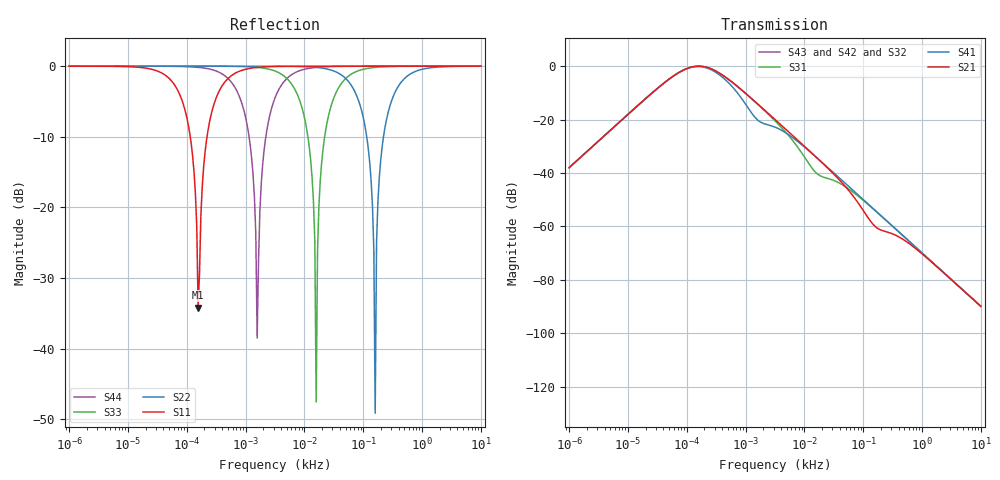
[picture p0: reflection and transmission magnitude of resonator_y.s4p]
# Hz Y RI R 1
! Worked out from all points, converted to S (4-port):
!   301 points, 1 mHz to 10 kHz, reference 1 ohm
!   strongest paths, dB at 1 mHz, 56.23 mHz, 3.162 Hz, 177.8 Hz, 10 kHz:
!     S21: -38.0, -4.0, -20.0, -60.8, -89.9
!     S41: -38.0, -4.1, -22.8, -54.9, -89.9
!     S31: -38.0, -4.0, -20.5, -55.0, -89.9
!     S43: -, -, -, -, -
!     S42: -, -, -, -, -
!     S32: -, -, -, -, -
!   lowest |S11| = -34.2 dB at 156.1 mHz (marker M1), VSWR 1.04, Z = 1 - j0.0391 ohm
!   |S11| at or under -10 dB: 114.6 mHz to 221.2 mHz (106.5 mHz wide, 63.5 % of centre)
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0.001  3.95e-05 0.00628  0 0  0 0  0 0
       3.95e-05 0.00628  5e-11 6.28e-06  0 0  0 0
       3.95e-05 0.00628  0 0  3.95e-09 6.28e-05  0 0
       3.95e-05 0.00628  0 0  0 0  3.95e-07 0.000628
0.156075  0.9985 0.039  0 0  0 0  0 0
          0.9985 0.039  9.62e-07 0.000981  0 0  0 0
          0.9985 0.039  0 0  9.62e-05 0.00981  0 0
          0.9985 0.039  0 0  0 0  0.00971 0.0981
1.572775  0.0103 -0.1012  0 0  0 0  0 0
          0.0103 -0.1012  9.77e-05 0.00988  0 0  0 0
          0.0103 -0.1012  0 0  0.00986 0.0988  0 0
          0.0103 -0.1012  0 0  0 0  0.9994 0.0237
15.84893  0.000101 -0.01  0 0  0 0  0 0
          0.000101 -0.01  0.01 0.0996  0 0  0 0
          0.000101 -0.01  0 0  0.9999 0.00838  0 0
          0.000101 -0.01  0 0  0 0  0.0102 -0.1004
159.7104  9.93e-07 -0.000997  0 0  0 0  0 0
          9.93e-07 -0.000997  1 -0.00697  0 0  0 0
          9.93e-07 -0.000997  0 0  0.01 -0.0996  0 0
          9.93e-07 -0.000997  0 0  0 0  9.93e-05 -0.00997
288.4032  3.05e-07 -0.000552  0 0  0 0  0 0
          3.05e-07 -0.000552  0.3864 -0.4869  0 0  0 0
          3.05e-07 -0.000552  0 0  0.00305 -0.0552  0 0
          3.05e-07 -0.000552  0 0  0 0  3.05e-05 -0.00552
10000  2.5e-10 -1.59e-05  0 0  0 0  0 0
       2.53e-10 -1.59e-05  0.000253 -0.0159  0 0  0 0
       2.53e-10 -1.59e-05  0 0  2.53e-06 -0.00159  0 0
       2.53e-10 -1.59e-05  0 0  0 0  2.54e-08 -0.000159
